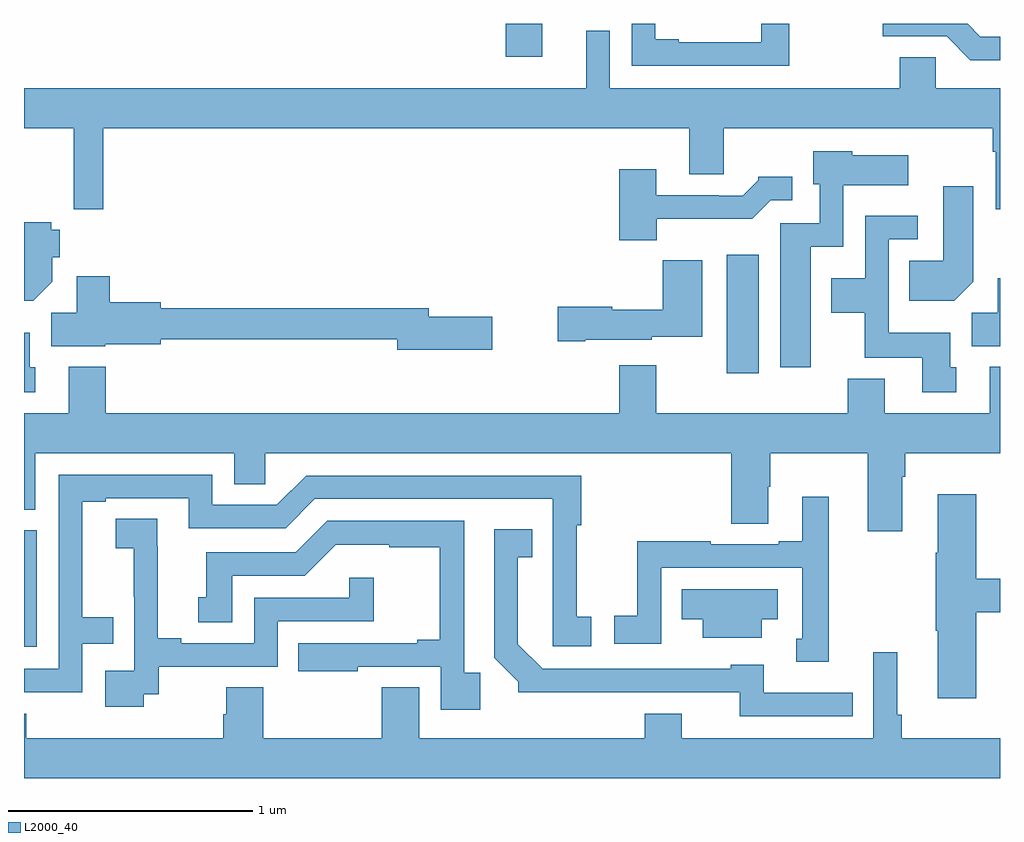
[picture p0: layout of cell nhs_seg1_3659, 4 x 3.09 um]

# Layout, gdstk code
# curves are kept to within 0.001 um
import gdstk
lib = gdstk.Library(unit=1e-6, precision=1e-09)
def R(c, l, rs):  # rectangles x0, y0, x1, y1
    for r in rs: c.add(gdstk.rectangle(r[:2], r[2:], *l))
def P(c, l, *ps):  # polygons
    for p in ps: c.add(gdstk.Polygon(p, *l))
L2000_40 = (2000, 40)

nhs_seg1_3659 = lib.new_cell('nhs_seg1_3659')
R(nhs_seg1_3659, L2000_40, [(311,509.646,311.052,510.123), (313.88,510.768,314.011,511.252), (312.974,512.064,313.123,512.199)])
P(nhs_seg1_3659, L2000_40, [(315,512.147),(314.92,512.147),(314.868,512.199),(314.52,512.199),(314.52,512.148),(314.781,512.148),(314.878,512.051),(315,512.051)],
  [(314.137,512.199),(314.022,512.199),(314.022,512.124),(313.684,512.124),(313.684,512.137),(313.588,512.137),(313.588,512.199),(313.491,512.199),(313.491,512.028),(314.137,512.028)],
  [(311.324,511.772),(313.727,511.772),(313.727,511.582),(313.867,511.582),(313.867,511.772),(314.97,511.772),(314.97,511.676),(314.982,511.676),(314.982,511.44),(315,511.44),(315,511.936),(314.736,511.936),(314.736,512.063),(314.59,512.063),(314.59,511.936),(313.401,511.936),(313.401,512.17),(313.304,512.17),(313.304,511.936),(311,511.936),(311,511.772),(311.203,511.772),(311.203,511.44),(311.324,511.44)],
  [(314.224,511.286),(314.358,511.286),(314.358,511.538),(314.623,511.538),(314.623,511.66),(314.394,511.66),(314.394,511.678),(314.234,511.678),(314.234,511.542),(314.262,511.542),(314.262,511.383),(314.099,511.383),(314.099,510.792),(314.224,510.792)],
  [(313.594,511.4),(313.985,511.4),(314.061,511.476),(314.149,511.476),(314.149,511.573),(314.01,511.573),(314.01,511.558),(313.946,511.494),(313.847,511.494),(313.847,511.497),(313.591,511.497),(313.591,511.603),(313.439,511.603),(313.439,511.313),(313.594,511.313)],
  [(314.89,511.142),(314.89,511.534),(314.768,511.534),(314.768,511.228),(314.629,511.228),(314.629,511.064),(314.812,511.064)],
  [(314.821,510.792),(314.797,510.792),(314.797,510.934),(314.544,510.934),(314.544,511.317),(314.662,511.317),(314.662,511.413),(314.448,511.413),(314.448,511.156),(314.309,511.156),(314.309,511.016),(314.446,511.016),(314.446,510.83),(314.681,510.83),(314.681,510.69),(314.821,510.69)],
  [(311.116,511.142),(311.116,511.242),(311.147,511.242),(311.147,511.356),(311.112,511.356),(311.112,511.386),(311,511.386),(311,511.064),(311.038,511.064)],
  [(313.3,510.905),(313.572,510.905),(313.572,510.917),(313.78,510.917),(313.78,511.231),(313.618,511.231),(313.618,511.027),(313.41,511.027),(313.41,511.04),(313.188,511.04),(313.188,510.898),(313.3,510.898)],
  [(312.919,510.998),(312.658,510.998),(312.658,511.034),(311.56,511.034),(311.56,511.058),(311.351,511.058),(311.351,511.165),(311.216,511.165),(311.216,511.016),(311.111,511.016),(311.111,510.878),(311.334,510.878),(311.334,510.887),(311.56,510.887),(311.56,510.906),(312.53,510.906),(312.53,510.863),(312.919,510.863)],
  [(315,511.156),(314.99,511.156),(314.99,511.016),(314.885,511.016),(314.885,510.878),(315,510.878)],
  [(311.047,510.792),(311.023,510.792),(311.023,510.934),(311,510.934),(311,510.69),(311.047,510.69)],
  [(314.599,510.344),(314.612,510.344),(314.612,510.44),(315,510.44),(315,510.793),(314.957,510.793),(314.957,510.604),(314.527,510.604),(314.527,510.745),(314.375,510.745),(314.375,510.604),(313.591,510.604),(313.591,510.799),(313.439,510.799),(313.439,510.604),(311.336,510.604),(311.336,510.793),(311.183,510.793),(311.183,510.604),(311,510.604),(311,510.208),(311.047,510.208),(311.047,510.44),(311.861,510.44),(311.861,510.313),(311.988,510.313),(311.988,510.44),(313.898,510.44),(313.898,510.151),(314.05,510.151),(314.05,510.302),(314.058,510.302),(314.058,510.44),(314.459,510.44),(314.459,510.12),(314.599,510.12)],
  [(311.238,509.658),(311.366,509.658),(311.366,509.767),(311.239,509.767),(311.239,510.24),(311.335,510.24),(311.335,510.255),(311.676,510.255),(311.676,510.132),(312.072,510.132),(312.192,510.252),(313.167,510.252),(313.166,509.649),(313.324,509.649),(313.324,509.769),(313.266,509.769),(313.266,510.145),(313.283,510.145),(313.283,510.348),(312.156,510.348),(312.036,510.228),(311.772,510.228),(311.772,510.351),(311.142,510.351),(311.142,509.556),(311,509.556),(311,509.46),(311.238,509.46)],
  [(314.903,509.788),(315,509.788),(315,509.924),(314.903,509.924),(314.903,510.271),(314.744,510.271),(314.744,510.032),(314.737,510.032),(314.737,509.711),(314.744,509.711),(314.744,509.436),(314.903,509.436)],
  [(314.299,510.262),(314.189,510.262),(314.189,510.079),(314.093,510.079),(314.093,510.066),(313.814,510.066),(313.814,510.079),(313.513,510.079),(313.513,509.774),(313.419,509.774),(313.419,509.658),(313.611,509.658),(313.611,509.97),(314.19,509.97),(314.19,509.679),(314.165,509.679),(314.165,509.585),(314.299,509.585)],
  [(311.49,509.451),(311.552,509.451),(311.552,509.565),(312.039,509.565),(312.039,509.751),(312.434,509.751),(312.434,509.929),(312.333,509.929),(312.333,509.847),(311.943,509.847),(311.943,509.661),(311.644,509.661),(311.644,509.681),(311.548,509.681),(311.548,510.059),(311.546,510.059),(311.546,510.17),(311.376,510.17),(311.376,510.049),(311.45,510.049),(311.45,509.851),(311.451,509.851),(311.451,509.547),(311.334,509.547),(311.334,509.4),(311.49,509.4)],
  [(312.869,509.539),(312.804,509.539),(312.804,510.162),(312.243,510.162),(312.114,510.033),(311.747,510.033),(311.747,509.85),(311.714,509.85),(311.714,509.746),(311.854,509.746),(311.854,509.937),(312.15,509.937),(312.278,510.065),(312.497,510.065),(312.497,510.054),(312.703,510.054),(312.703,509.674),(312.611,509.674),(312.611,509.661),(312.124,509.661),(312.124,509.546),(312.367,509.546),(312.367,509.565),(312.708,509.565),(312.708,509.388),(312.869,509.388)],
  [(314.396,509.457),(314.032,509.457),(314.032,509.572),(313.896,509.572),(313.896,509.556),(313.125,509.556),(313.024,509.657),(313.024,510.014),(313.082,510.014),(313.082,510.127),(312.927,510.127),(312.927,509.602),(313.026,509.503),(313.026,509.459),(313.933,509.46),(313.933,509.361),(314.396,509.361)],
  [(314.023,509.759),(314.089,509.759),(314.089,509.881),(313.696,509.881),(313.696,509.759),(313.781,509.759),(313.781,509.684),(314.023,509.684)],
  [(315,509.272),(314.597,509.272),(314.597,509.368),(314.578,509.368),(314.578,509.623),(314.481,509.623),(314.481,509.272),(313.696,509.272),(313.696,509.371),(313.544,509.371),(313.544,509.272),(312.619,509.272),(312.619,509.48),(312.467,509.48),(312.467,509.272),(311.981,509.272),(311.981,509.48),(311.828,509.48),(311.828,509.37),(311.816,509.37),(311.816,509.272),(311.009,509.272),(311.009,509.371),(311,509.371),(311,509.108),(315,509.108)])

lib.write_gds('nhs_seg1_3659.gds')
